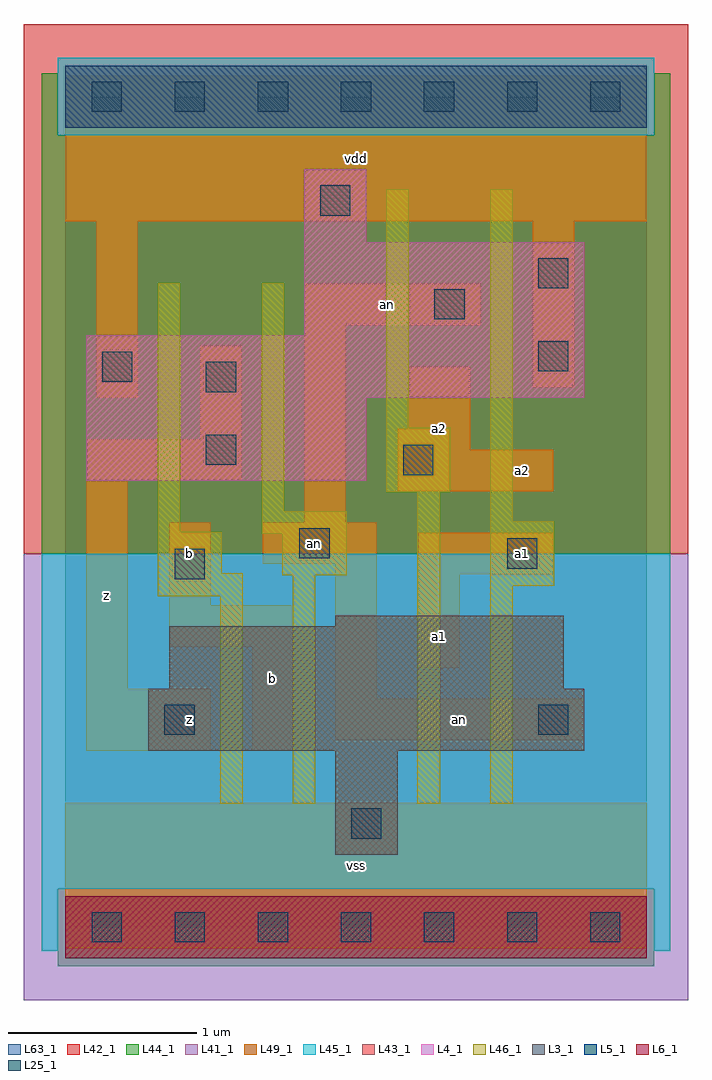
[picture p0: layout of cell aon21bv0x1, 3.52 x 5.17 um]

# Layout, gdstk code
import gdstk
lib = gdstk.Library(unit=1e-6, precision=1e-09)
def R(c, l, rs):  # rectangles x0, y0, x1, y1
    for r in rs: c.add(gdstk.rectangle(r[:2], r[2:], *l))
def A(c, l, x, y, w, h, nx, ny, dx, dy):  # array of equal rectangles
    R(c, l, [(x+i*dx, y+j*dy, x+i*dx+w, y+j*dy+h) for i in range(nx) for j in range(ny)])
L3_1 = (3, 1)
L4_1 = (4, 1)
L5_1 = (5, 1)
L6_1 = (6, 1)
L25_1 = (25, 1)
L41_1 = (41, 1)
L42_1 = (42, 1)
L43_1 = (43, 1)
L44_1 = (44, 1)
L45_1 = (45, 1)
L46_1 = (46, 1)
L49_1 = (49, 1)
L63_1 = (63, 1)

aon21bv0x1 = lib.new_cell('aon21bv0x1')
R(aon21bv0x1, L3_1, [(1.43,0.385,1.76,0.935), (0.44,0.935,2.75,1.265), (0.55,1.265,2.64,1.595), (1.43,1.595,2.64,1.65)])
R(aon21bv0x1, L4_1, [(0.11,2.365,1.595,2.805), (0.11,2.805,2.75,3.135), (1.265,3.135,2.75,3.63), (1.265,3.63,1.595,4.015)])
R(aon21bv0x1, L5_1, [(0,4.235,3.08,4.565)])
R(aon21bv0x1, L6_1, [(0,-0.165,3.08,0.165)])
A(aon21bv0x1, L25_1, 0.14, -0.08, 0.16, 0.16, 7, 2, 0.44, 4.4)
R(aon21bv0x1, L25_1, [(1.515,0.47,1.675,0.63), (0.525,1.02,0.685,1.18), (2.505,1.02,2.665,1.18), (0.58,1.845,0.74,2.005), (2.34,1.9,2.5,2.06), (1.24,1.955,1.4,2.115), (1.79,2.395,1.95,2.555), (0.745,2.45,0.905,2.61), (0.745,2.835,0.905,2.995), (0.195,2.89,0.355,3.05), (2.505,2.945,2.665,3.105), (1.955,3.22,2.115,3.38), (2.505,3.385,2.665,3.545), (1.35,3.77,1.51,3.93)])
R(aon21bv0x1, L41_1, [(-0.22,-0.385,3.3,1.98)])
R(aon21bv0x1, L42_1, [(-0.22,1.98,3.3,4.785)])
R(aon21bv0x1, L43_1, [(0,-0.165,3.08,0.165), (1.43,0.385,1.76,0.935), (0.44,0.935,2.75,1.265), (0.55,1.265,2.64,1.595), (1.43,1.595,2.64,1.65), (0.11,2.365,1.595,2.805), (0.11,2.805,2.75,3.135), (1.265,3.135,2.75,3.63), (1.265,3.63,1.595,4.015), (0,4.235,3.08,4.565)])
R(aon21bv0x1, L44_1, [(-0.04,-0.205,3.12,0.205), (-0.125,1.98,3.205,4.195), (-0.125,4.195,-0.04,4.525), (3.12,4.195,3.205,4.525)])
R(aon21bv0x1, L45_1, [(-0.125,-0.125,-0.04,0.205), (3.12,-0.125,3.205,0.205), (-0.125,0.205,3.205,1.98), (-0.04,4.195,3.12,4.605)])
R(aon21bv0x1, L46_1, [(0.82,0.655,0.94,1.755), (1.205,0.655,1.325,1.865), (1.865,0.655,1.985,2.305), (2.25,0.655,2.37,1.81), (0.49,1.755,0.94,1.875), (2.25,1.81,2.59,2.15), (1.15,1.865,1.49,2.085), (0.49,1.875,0.83,2.095), (1.04,2.085,1.49,2.205), (0.49,2.095,0.61,3.415), (2.25,2.15,2.37,3.91), (1.04,2.205,1.16,3.415), (1.7,2.305,2.04,2.645), (1.7,2.645,1.82,3.91)])
R(aon21bv0x1, L49_1, [(0,-0.11,3.08,0.66), (0.11,0.935,0.77,1.265), (0.99,0.935,1.21,1.485), (1.43,0.99,2.75,1.21), (1.43,1.21,1.65,1.925), (0.11,1.265,0.33,2.365), (1.87,1.375,2.09,1.87), (0.55,1.485,1.21,1.705), (0.55,1.705,0.77,2.145), (1.87,1.87,2.585,2.09), (1.045,1.925,1.65,2.145), (1.265,2.145,1.485,3.19), (1.76,2.31,2.585,2.53), (0.11,2.365,0.935,2.585), (1.76,2.53,2.145,2.64), (0.715,2.585,0.935,3.08), (1.815,2.64,2.145,2.97), (0.165,2.805,0.385,3.74), (2.475,2.86,2.695,3.74), (1.265,3.19,2.2,3.41), (0,3.74,3.08,4.51)])
R(aon21bv0x1, L63_1, [(0,0,3.08,4.4)])
aon21bv0x1.add(gdstk.Label('an', (1.32,2.035), layer=49, texttype=1))
aon21bv0x1.add(gdstk.Label('z', (0.22,1.76), layer=49, texttype=1))
aon21bv0x1.add(gdstk.Label('z', (0.66,1.1), layer=49, texttype=1))
aon21bv0x1.add(gdstk.Label('b', (0.66,1.98), layer=49, texttype=1))
aon21bv0x1.add(gdstk.Label('b', (1.1,1.32), layer=49, texttype=1))
aon21bv0x1.add(gdstk.Label('vss', (1.54,0.33), layer=49, texttype=1))
aon21bv0x1.add(gdstk.Label('an', (1.32,2.035), layer=49, texttype=1))
aon21bv0x1.add(gdstk.Label('a1', (1.98,1.54), layer=49, texttype=1))
aon21bv0x1.add(gdstk.Label('a2', (1.98,2.64), layer=49, texttype=1))
aon21bv0x1.add(gdstk.Label('an', (1.705,3.3), layer=49, texttype=1))
aon21bv0x1.add(gdstk.Label('vdd', (1.54,4.07), layer=49, texttype=1))
aon21bv0x1.add(gdstk.Label('an', (2.09,1.1), layer=49, texttype=1))
aon21bv0x1.add(gdstk.Label('a1', (2.42,1.98), layer=49, texttype=1))
aon21bv0x1.add(gdstk.Label('a2', (2.42,2.42), layer=49, texttype=1))

lib.write_gds('aon21bv0x1.gds')
